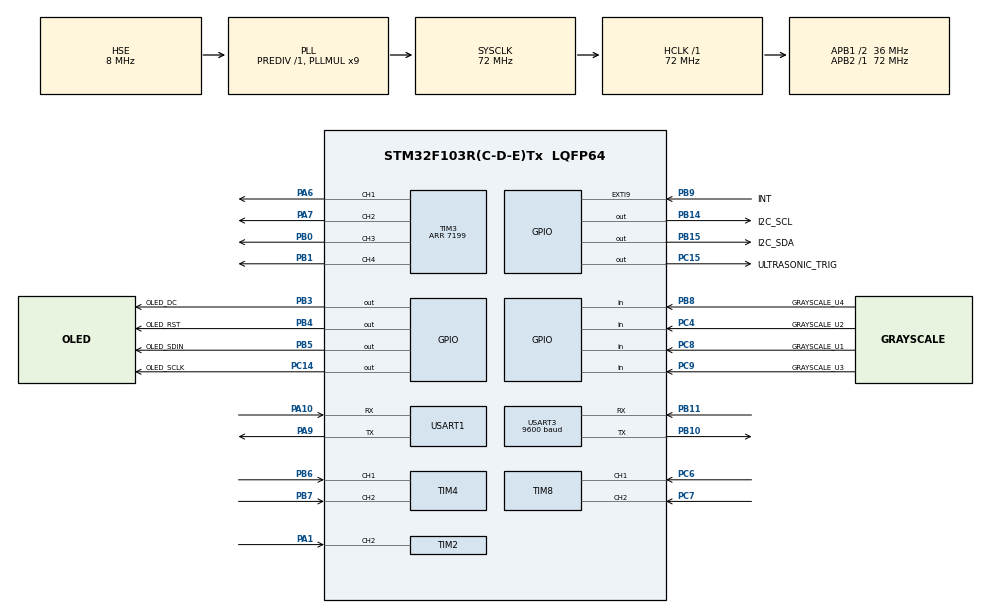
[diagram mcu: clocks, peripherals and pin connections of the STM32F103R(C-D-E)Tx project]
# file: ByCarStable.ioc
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FREERTOS.Queues01=TelemetryQueue,4,AppTelemetryFrame_t,0,Dynamic,NULL,NULL;BluetoothRxQueue,32,uint8_t,0,Dynamic,NULL,NULL;BluetoothCommandQueue,4,BluetoothCommand_t,0,Dynamic,NULL,NULL;UltrasonicQueue,1,UltrasonicSample_t,0,Dynamic,NULL,NULL
FREERTOS.Tasks01=ControlTask,40,512,StartControlTask,Default,NULL,Dynamic,NULL,NULL;TelemetryTask,8,384,StartTelemetryTask,Default,NULL,Dynamic,NULL,NULL;BluetoothTask,24,384,StartBluetoothTask,Default,NULL,Dynamic,NULL,NULL;UltrasonicTask,16,256,StartUltrasonicTask,Default,NULL,Dynamic,NULL,NULL
Mcu.Family=STM32F1
Mcu.Name=STM32F103R(C-D-E)Tx
Mcu.Package=LQFP64
NVIC.EXTI9_5_IRQn=true\:5\:0\:false\:false\:true\:true\:true\:true\:true
NVIC.PriorityGroup=NVIC_PRIORITYGROUP_4
NVIC.TIM2_IRQn=true\:6\:0\:false\:false\:true\:true\:true\:true\:true
NVIC.TIM7_IRQn=true\:15\:0\:false\:false\:true\:false\:false\:true\:true
NVIC.USART3_IRQn=true\:5\:0\:false\:false\:true\:true\:true\:true\:true
NVIC.TimeBase=TIM7_IRQn
NVIC.TimeBaseIP=TIM7
PA10.Mode=Asynchronous
PA10.Signal=USART1_RX
PA1.Signal=S_TIM2_CH2
PA13.Mode=Serial_Wire
PA13.Signal=SYS_JTMS-SWDIO
PA14.Mode=Serial_Wire
PA14.Signal=SYS_JTCK-SWCLK
PA6.Signal=S_TIM3_CH1
PA7.Signal=S_TIM3_CH2
PA9.Mode=Asynchronous
PA9.Signal=USART1_TX
PB0.Signal=S_TIM3_CH3
PB1.Signal=S_TIM3_CH4
PB10.Mode=Asynchronous
PB10.Signal=USART3_TX
PB11.Mode=Asynchronous
PB11.Signal=USART3_RX
PB14.GPIO_Label=I2C_SCL
PB14.GPIO_ModeDefaultOutputPP=GPIO_MODE_OUTPUT_OD
PB14.GPIO_PuPd=GPIO_PULLUP
PB14.GPIO_Speed=GPIO_SPEED_FREQ_HIGH
PB14.PinState=GPIO_PIN_SET
PB14.Signal=GPIO_Output
PB15.GPIO_Label=I2C_SDA
PB15.GPIO_ModeDefaultOutputPP=GPIO_MODE_OUTPUT_OD
PB15.GPIO_PuPd=GPIO_PULLUP
PB15.GPIO_Speed=GPIO_SPEED_FREQ_HIGH
PB15.PinState=GPIO_PIN_SET
PB15.Signal=GPIO_Output
PB3.GPIO_Label=OLED_DC
PB3.GPIO_ModeDefaultOutputPP=GPIO_MODE_OUTPUT_PP
PB3.GPIO_PuPd=GPIO_NOPULL
PB3.GPIO_Speed=GPIO_SPEED_FREQ_HIGH
PB3.PinState=GPIO_PIN_SET
PB3.Signal=GPIO_Output
PB4.GPIO_Label=OLED_RST
PB4.GPIO_ModeDefaultOutputPP=GPIO_MODE_OUTPUT_PP
PB4.GPIO_PuPd=GPIO_NOPULL
PB4.GPIO_Speed=GPIO_SPEED_FREQ_HIGH
PB4.PinState=GPIO_PIN_SET
PB4.Signal=GPIO_Output
PB5.GPIO_Label=OLED_SDIN
PB5.GPIO_ModeDefaultOutputPP=GPIO_MODE_OUTPUT_PP
PB5.GPIO_PuPd=GPIO_NOPULL
PB5.GPIO_Speed=GPIO_SPEED_FREQ_HIGH
PB5.PinState=GPIO_PIN_SET
PB5.Signal=GPIO_Output
PB6.Signal=S_TIM4_CH1
PB7.Signal=S_TIM4_CH2
PB8.GPIO_Label=GRAYSCALE_U4
PB8.GPIO_PuPd=GPIO_NOPULL
PB8.Signal=GPIO_Input
PB9.GPIO_Label=INT
PB9.GPIO_PuPd=GPIO_PULLDOWN
PB9.Signal=GPXTI9
PC4.GPIO_Label=GRAYSCALE_U2
PC4.GPIO_PuPd=GPIO_NOPULL
PC4.Signal=GPIO_Input
PC6.Signal=S_TIM8_CH1
PC7.Signal=S_TIM8_CH2
PC8.GPIO_Label=GRAYSCALE_U1
PC8.GPIO_PuPd=GPIO_NOPULL
PC8.Signal=GPIO_Input
PC9.GPIO_Label=GRAYSCALE_U3
PC9.GPIO_PuPd=GPIO_NOPULL
PC9.Signal=GPIO_Input
PC14.GPIO_Label=OLED_SCLK
PC14.GPIO_ModeDefaultOutputPP=GPIO_MODE_OUTPUT_PP
PC14.GPIO_PuPd=GPIO_NOPULL
PC14.GPIO_Speed=GPIO_SPEED_FREQ_HIGH
PC14.PinState=GPIO_PIN_SET
PC14.Signal=GPIO_Output
PC15.GPIO_Label=ULTRASONIC_TRIG
PC15.GPIO_ModeDefaultOutputPP=GPIO_MODE_OUTPUT_PP
PC15.GPIO_Speed=GPIO_SPEED_FREQ_LOW
PC15.PinState=GPIO_PIN_RESET
PC15.Signal=GPIO_Output
PD0-OSC_IN.Mode=HSE-External-Oscillator
PD0-OSC_IN.Signal=RCC_OSC_IN
PD1-OSC_OUT.Mode=HSE-External-Oscillator
PD1-OSC_OUT.Signal=RCC_OSC_OUT
ProjectManager.HeapSize=0x200
ProjectManager.StackSize=0x400
ProjectManager.TargetToolchain=MDK-ARM V5.32
RCC.AHBFreq_Value=72000000
RCC.APB1CLKDivider=RCC_HCLK_DIV2
RCC.APB1Freq_Value=36000000
RCC.APB1TimFreq_Value=72000000
RCC.APB2Freq_Value=72000000
RCC.APB2TimFreq_Value=72000000
RCC.HCLKFreq_Value=72000000
RCC.PLLMUL=RCC_PLL_MUL9
RCC.PLLSourceVirtual=RCC_PLLSOURCE_HSE
RCC.SYSCLKFreq_VALUE=72000000
RCC.SYSCLKSource=RCC_SYSCLKSOURCE_PLLCLK
RCC.USBFreq_Value=72000000
SH.S_TIM2_CH2.0=TIM2_CH2,Input_Capture direct mode
SH.S_TIM3_CH1.0=TIM3_CH1,PWM Generation1 CH1
SH.S_TIM3_CH2.0=TIM3_CH2,PWM Generation2 CH2
SH.S_TIM3_CH3.0=TIM3_CH3,PWM Generation3 CH3
SH.S_TIM3_CH4.0=TIM3_CH4,PWM Generation4 CH4
SH.S_TIM4_CH1.0=TIM4_CH1,Encoder_Interface
SH.S_TIM4_CH2.0=TIM4_CH2,Encoder_Interface
SH.S_TIM8_CH1.0=TIM8_CH1,Encoder_Interface
SH.S_TIM8_CH2.0=TIM8_CH2,Encoder_Interface
TIM3.AutoReloadPreload=TIM_AUTORELOAD_PRELOAD_ENABLE
TIM3.Channel-PWM\ Generation1\ CH1=TIM_CHANNEL_1
TIM3.Channel-PWM\ Generation2\ CH2=TIM_CHANNEL_2
TIM3.Channel-PWM\ Generation3\ CH3=TIM_CHANNEL_3
TIM3.Channel-PWM\ Generation4\ CH4=TIM_CHANNEL_4
TIM3.Period=7199
TIM2.Channel-Input\ Capture2\ from\ TI2=TIM_CHANNEL_2
TIM2.Period=29999
TIM2.Prescaler=71
TIM4.EncoderMode=TIM_ENCODERMODE_TI12
TIM4.IC1Filter=4
TIM4.IC2Filter=4
TIM8.EncoderMode=TIM_ENCODERMODE_TI12
TIM8.IC1Filter=4
TIM8.IC2Filter=4
USART1.VirtualMode=VM_ASYNC
USART3.VirtualMode=VM_ASYNC
USART3.BaudRate=9600
VP_FREERTOS_VS_CMSIS_V2.Mode=CMSIS_V2
VP_SYS_VS_tim7.Mode=TIM7
VP_TIM3_VS_ClockSourceINT.Mode=Internal
board=custom

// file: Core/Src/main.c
/* USER CODE BEGIN Header */
/**
  ******************************************************************************
  * @file           : main.c
  * @brief          : Main program body
  ******************************************************************************
  * @attention
  *
  * Copyright (c) 2026 STMicroelectronics.
  * All rights reserved.
  *
  * This software is licensed under terms that can be found in the LICENSE file
  * in the root directory of this software component.
  * If no LICENSE file comes with this software, it is provided AS-IS.
  *
  ******************************************************************************
  */
/* USER CODE END Header */
#include "main.h"
#include "cmsis_os.h"
#include "tim.h"
#include "usart.h"
#include "gpio.h"

/* USER CODE BEGIN Includes */
#include "oled.h"
#include "ultrasonic.h"

/* USER CODE END Includes */

void SystemClock_Config(void);
void MX_FREERTOS_Init(void);

int main(void)
{

  /* MCU Configuration--------------------------------------------------------*/

  /* Reset of all peripherals, Initializes the Flash interface and the Systick. */
  HAL_Init();

  /* Configure the system clock */
  SystemClock_Config();

  /* Initialize all configured peripherals */
  MX_GPIO_Init();
  MX_TIM2_Init();
  MX_TIM3_Init();
  MX_USART1_UART_Init();
  MX_USART3_UART_Init();
  MX_TIM4_Init();
  MX_TIM8_Init();
  /* USER CODE BEGIN 2 */

  OLED_Init();

  /* USER CODE END 2 */

  /* Init scheduler */
  osKernelInitialize();  /* Call init function for freertos objects (in cmsis_os2.c) */
  MX_FREERTOS_Init();

  /* Start scheduler */
  osKernelStart();

  /* We should never get here as control is now taken by the scheduler */

  /* Infinite loop */
  while (1)
  {

  }
}

void SystemClock_Config(void)
{
  RCC_OscInitTypeDef RCC_OscInitStruct = {0};
  RCC_ClkInitTypeDef RCC_ClkInitStruct = {0};

  /** Initializes the RCC Oscillators according to the specified parameters
  * in the RCC_OscInitTypeDef structure.
  */
  RCC_OscInitStruct.OscillatorType = RCC_OSCILLATORTYPE_HSE;
  RCC_OscInitStruct.HSEState = RCC_HSE_ON;
  RCC_OscInitStruct.HSEPredivValue = RCC_HSE_PREDIV_DIV1;
  RCC_OscInitStruct.HSIState = RCC_HSI_ON;
  RCC_OscInitStruct.PLL.PLLState = RCC_PLL_ON;
  RCC_OscInitStruct.PLL.PLLSource = RCC_PLLSOURCE_HSE;
  RCC_OscInitStruct.PLL.PLLMUL = RCC_PLL_MUL9;
  if (HAL_RCC_OscConfig(&RCC_OscInitStruct) != HAL_OK)
  {
    Error_Handler();
  }

  /** Initializes the CPU, AHB and APB buses clocks
  */
  RCC_ClkInitStruct.ClockType = RCC_CLOCKTYPE_HCLK|RCC_CLOCKTYPE_SYSCLK
                              |RCC_CLOCKTYPE_PCLK1|RCC_CLOCKTYPE_PCLK2;
  RCC_ClkInitStruct.SYSCLKSource = RCC_SYSCLKSOURCE_PLLCLK;
  RCC_ClkInitStruct.AHBCLKDivider = RCC_SYSCLK_DIV1;
  RCC_ClkInitStruct.APB1CLKDivider = RCC_HCLK_DIV2;
  RCC_ClkInitStruct.APB2CLKDivider = RCC_HCLK_DIV1;

  if (HAL_RCC_ClockConfig(&RCC_ClkInitStruct, FLASH_LATENCY_2) != HAL_OK)
  {
    Error_Handler();
  }
}

void HAL_TIM_PeriodElapsedCallback(TIM_HandleTypeDef *htim)
{
  if (htim->Instance == TIM7)
  {
    HAL_IncTick();
  }
  /* USER CODE BEGIN Callback 1 */
  else if (htim->Instance == TIM2)
  {
    Ultrasonic_HandleTimeoutIRQ(htim);
  }

  /* USER CODE END Callback 1 */
}

void Error_Handler(void)
{
  __disable_irq();
  while (1)
  {
  }
}

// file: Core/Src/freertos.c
/* USER CODE BEGIN Header */
/**
  ******************************************************************************
  * File Name          : freertos.c
  * Description        : Code for freertos applications
  ******************************************************************************
  */
/* USER CODE END Header */

#include "FreeRTOS.h"
#include "task.h"
#include "main.h"
#include "cmsis_os.h"

/* USER CODE BEGIN Includes */
#include "balance_control.h"
#include "bluetooth_control.h"
#include "imu.h"
#include "line_tracking.h"
#include "motor_control.h"
#include "oled_dashboard.h"
#include "ultrasonic.h"
#include "usart.h"
#include <stddef.h>
#include <stdio.h>
#include <string.h>
/* USER CODE END Includes */

/* USER CODE BEGIN PTD */
typedef struct
{
  uint32_t start_ms;
  uint16_t reverse_speed_mm_s;
  uint8_t active;
} AppUltrasonicAvoidance_t;

typedef struct
{
  uint32_t now_ms;
  uint32_t data_ready_missed;
  uint16_t loop_dt_ms;
  BalanceSample_t sample;
  MotorTelemetry_t motor;
  BalanceOutput_t output;
  BluetoothCommand_t bluetooth;
  UltrasonicSample_t ultrasonic;
  uint8_t grayscale_code;
  uint8_t avoidance_active;
} AppTelemetryFrame_t;
/* USER CODE END PTD */

/* USER CODE BEGIN PD */
#define BALANCE_TELEMETRY_PERIOD_MS    100U
#define OLED_DISPLAY_PERIOD_MS         200U
#define IMU_DATA_READY_THREAD_FLAG     0x00000001U
#define CONTROL_IMU_SAMPLES_PER_STEP   2U
#define BLUETOOTH_RX_QUEUE_DEPTH       32U
#define BLUETOOTH_COMMAND_QUEUE_DEPTH  4U
#define BLUETOOTH_NORMAL_BAUD          9600U
#define BLUETOOTH_AT_STARTUP_DELAY_MS  250U
#define BLUETOOTH_AT_TIMEOUT_MS        300U
#define BLUETOOTH_AT_COMMAND_DELAY_MS  50U
#define BLUETOOTH_AT_RESET_DELAY_MS    200U
#define APP_PI_F                       3.14159265358979323846f
/* USER CODE END PD */

/* USER CODE BEGIN Variables */
static volatile uint32_t app_imu_data_ready_sequence;
static uint8_t app_bluetooth_rx_byte;
static volatile uint8_t app_bluetooth_rx_enabled;
/* USER CODE END Variables */

/* Definitions for ControlTask */
osThreadId_t ControlTaskHandle;
const osThreadAttr_t ControlTask_attributes = {
  .name = "ControlTask",
  .stack_size = 512 * 4,
  .priority = (osPriority_t) osPriorityHigh,
};

/* Definitions for TelemetryTask */
osThreadId_t TelemetryTaskHandle;
const osThreadAttr_t TelemetryTask_attributes = {
  .name = "TelemetryTask",
  .stack_size = 384 * 4,
  .priority = (osPriority_t) osPriorityLow,
};

/* Definitions for BluetoothTask */
osThreadId_t BluetoothTaskHandle;
const osThreadAttr_t BluetoothTask_attributes = {
  .name = "BluetoothTask",
  .stack_size = 384 * 4,
  .priority = (osPriority_t) osPriorityNormal,
};

/* Definitions for UltrasonicTask */
osThreadId_t UltrasonicTaskHandle;
const osThreadAttr_t UltrasonicTask_attributes = {
  .name = "UltrasonicTask",
  .stack_size = 256 * 4,
  .priority = (osPriority_t) osPriorityBelowNormal,
};

/* Definitions for TelemetryQueue */
osMessageQueueId_t TelemetryQueueHandle;
const osMessageQueueAttr_t TelemetryQueue_attributes = {
  .name = "TelemetryQueue"
};

/* Definitions for BluetoothRxQueue */
osMessageQueueId_t BluetoothRxQueueHandle;
const osMessageQueueAttr_t BluetoothRxQueue_attributes = {
  .name = "BluetoothRxQueue"
};

/* Definitions for BluetoothCommandQueue */
osMessageQueueId_t BluetoothCommandQueueHandle;
const osMessageQueueAttr_t BluetoothCommandQueue_attributes = {
  .name = "BluetoothCommandQueue"
};

/* Latest completed ultrasonic sample; depth one intentionally replaces stale
   measurements instead of delaying the balance-control consumer. */
osMessageQueueId_t UltrasonicQueueHandle;
const osMessageQueueAttr_t UltrasonicQueue_attributes = {
  .name = "UltrasonicQueue"
};

/* Serialize USART1 debug output from the Bluetooth and telemetry tasks. */
osMutexId_t Uart1TxMutexHandle;
const osMutexAttr_t Uart1TxMutex_attributes = {
  .name = "Uart1TxMutex"
};

/* USER CODE BEGIN FunctionPrototypes */
static void App_SendText(const char *text);
static void App_SendBluetoothCommand(uint8_t byte,
                                     const BluetoothCommand_t *command);
static void App_SetStoppedOutput(BalanceOutput_t *output,
                                 BalanceState_t state);
static void App_BuildBalanceSetpoint(const BluetoothCommand_t *command,
                                     BalanceSetpoint_t *setpoint);
static void App_ApplyLineTracking(const BluetoothCommand_t *command,
                                  uint8_t grayscale_code,
                                  BluetoothCommand_t *tracking_command);
static void App_ApplyUltrasonicAvoidance(
  const BluetoothCommand_t *command,
  const UltrasonicSample_t *sample,
  uint8_t new_sample,
  uint32_t now_ms,
  AppUltrasonicAvoidance_t *avoidance,
  BluetoothCommand_t *effective_command);
static void App_UltrasonicPublishSample(const UltrasonicSample_t *sample);
static void App_QueueTelemetry(uint32_t now_ms,
                               uint16_t loop_dt_ms,
                               uint32_t data_ready_missed,
                                const BalanceSample_t *sample,
                                const MotorTelemetry_t *telemetry,
                                const BalanceOutput_t *output,
                                const BluetoothCommand_t *bluetooth,
                                const UltrasonicSample_t *ultrasonic,
                                uint8_t grayscale_code,
                                uint8_t avoidance_active);
static void App_SendTelemetry(const AppTelemetryFrame_t *frame);
static void App_FormatFloat(char *out, size_t out_size, float value,
                            uint8_t decimals);
static int32_t App_RoundFloat(float value);
static const char *App_StateText(BalanceState_t state);
static HAL_StatusTypeDef App_BluetoothSetBaud(uint32_t baud_rate);
static uint8_t App_BluetoothAtExchange(const char *request,
                                       const char *expected,
                                       uint32_t timeout_ms,
                                       BluetoothAtResponse_t *response);
static void App_BluetoothConfigureJdy33(void);
static void App_BluetoothPublishCommand(const BluetoothCommand_t *command);
static uint8_t App_ReadGrayscaleCode(void);
/* USER CODE END FunctionPrototypes */

void StartControlTask(void *argument);
void StartTelemetryTask(void *argument);
void StartBluetoothTask(void *argument);
void StartUltrasonicTask(void *argument);

void MX_FREERTOS_Init(void);

void MX_FREERTOS_Init(void)
{
  /* USER CODE BEGIN Init */
  app_imu_data_ready_sequence = 0U;
  app_bluetooth_rx_enabled = 0U;
  /* USER CODE END Init */

  Uart1TxMutexHandle = osMutexNew(&Uart1TxMutex_attributes);
  if (Uart1TxMutexHandle == NULL)
  {
    App_SendText("#key,error=uart1_mutex_create_failed\r\n");
  }

  /* creation of TelemetryQueue */
  TelemetryQueueHandle = osMessageQueueNew(4, sizeof(AppTelemetryFrame_t),
                                            &TelemetryQueue_attributes);
  if (TelemetryQueueHandle == NULL)
  {
    App_SendText("#key,error=telemetry_queue_create_failed\r\n");
  }

  BluetoothRxQueueHandle = osMessageQueueNew(
    BLUETOOTH_RX_QUEUE_DEPTH, sizeof(uint8_t), &BluetoothRxQueue_attributes);
  BluetoothCommandQueueHandle = osMessageQueueNew(
    BLUETOOTH_COMMAND_QUEUE_DEPTH, sizeof(BluetoothCommand_t),
    &BluetoothCommandQueue_attributes);
  UltrasonicQueueHandle = osMessageQueueNew(
    1U, sizeof(UltrasonicSample_t), &UltrasonicQueue_attributes);
  if ((BluetoothRxQueueHandle == NULL) ||
      (BluetoothCommandQueueHandle == NULL) ||
      (UltrasonicQueueHandle == NULL))
  {
    App_SendText("#key,error=queue_create_failed\r\n");
  }

  /* creation of ControlTask */
  ControlTaskHandle = osThreadNew(StartControlTask, NULL,
                                  &ControlTask_attributes);
  if (ControlTaskHandle == NULL)
  {
    App_SendText("#key,error=control_task_create_failed\r\n");
  }

  /* creation of TelemetryTask */
  TelemetryTaskHandle = NULL;
  if (TelemetryQueueHandle != NULL)
  {
    TelemetryTaskHandle = osThreadNew(StartTelemetryTask, NULL,
                                      &TelemetryTask_attributes);
  }
  if (TelemetryTaskHandle == NULL)
  {
    App_SendText("#key,error=telemetry_task_create_failed\r\n");
  }

  BluetoothTaskHandle = NULL;
  if ((BluetoothRxQueueHandle != NULL) &&
      (BluetoothCommandQueueHandle != NULL))
  {
    BluetoothTaskHandle = osThreadNew(StartBluetoothTask, NULL,
                                      &BluetoothTask_attributes);
  }
  if (BluetoothTaskHandle == NULL)
  {
    App_SendText("#bt,error=task_create_failed\r\n");
  }

  UltrasonicTaskHandle = NULL;
  if (UltrasonicQueueHandle != NULL)
  {
    UltrasonicTaskHandle = osThreadNew(StartUltrasonicTask, NULL,
                                       &UltrasonicTask_attributes);
  }
  if (UltrasonicTaskHandle == NULL)
  {
    App_SendText("#key,error=ultrasonic_task_create_failed\r\n");
  }

}

/* USER CODE BEGIN Header_StartControlTask */
/**
  * @brief PB9 MPU6050 data-ready synchronized balance control task.
  * @param argument Not used.
  */
/* USER CODE END Header_StartControlTask */
void StartControlTask(void *argument)
{
  /* USER CODE BEGIN StartControlTask */
  BalanceController_t controller;
  BalanceSample_t sample;
  BalanceOutput_t output;
  BalanceSetpoint_t setpoint;
  BluetoothCommand_t bluetooth_command;
  BluetoothCommand_t tracking_command;
  BluetoothCommand_t effective_command;
  BluetoothCommand_t pending_bluetooth_command;
  UltrasonicSample_t ultrasonic_sample;
  UltrasonicSample_t pending_ultrasonic_sample;
  AppUltrasonicAvoidance_t avoidance;
  const MotorTelemetry_t *telemetry;
  uint32_t current_sequence;
  uint32_t last_sequence;
  uint32_t last_sample_ms;
  uint32_t last_control_ms = 0U;
  uint32_t last_telemetry_ms = 0U;
  uint32_t data_ready_missed = 0U;
  uint16_t loop_dt_ms = 0U;
  uint8_t grayscale_code;
  uint8_t control_divider = 0U;

  (void)argument;
  (void)memset(&sample, 0, sizeof(sample));
  (void)memset(&setpoint, 0, sizeof(setpoint));
  (void)memset(&ultrasonic_sample, 0, sizeof(ultrasonic_sample));
  (void)memset(&avoidance, 0, sizeof(avoidance));
  BluetoothCommand_Init(&bluetooth_command);
  tracking_command = bluetooth_command;
  effective_command = bluetooth_command;
  grayscale_code = App_ReadGrayscaleCode();
  App_SetStoppedOutput(&output, BALANCE_STATE_TIMEOUT);
  Motor_Init();
  BalanceControl_Init(&controller);

  if (Imu_Init() == 0U)
  {
    App_SetStoppedOutput(&output, BALANCE_STATE_IMU_ERROR);
    Motor_Brake();
    App_SendText("#key,imu=error\r\n");
    for (;;)
    {
      telemetry = Motor_GetTelemetry();
      sample.timestamp_ms = HAL_GetTick();
      sample.valid = 0U;
      grayscale_code = App_ReadGrayscaleCode();
      App_QueueTelemetry(sample.timestamp_ms, 0U, data_ready_missed,
                          &sample, telemetry, &output, &bluetooth_command,
                          &ultrasonic_sample, grayscale_code,
                          avoidance.active);
      osDelay(BALANCE_TELEMETRY_PERIOD_MS);
    }
  }

  App_SendText("#key,imu=ok\r\n");
  last_sequence = app_imu_data_ready_sequence;
  (void)osThreadFlagsClear(IMU_DATA_READY_THREAD_FLAG);
  last_sample_ms = HAL_GetTick();

  for (;;)
  {
    uint32_t flags;
    uint32_t now_ms;
    uint32_t sequence_delta;
    uint32_t sample_dt_ms;
    uint8_t timing_fault = 0U;

    flags = osThreadFlagsWait(IMU_DATA_READY_THREAD_FLAG, osFlagsWaitAny,
                              BALANCE_SAMPLE_TIMEOUT_MS);
    now_ms = HAL_GetTick();

    if ((flags & osFlagsError) != 0U)
    {
      BalanceControl_Reset(&controller);
      Motor_Brake();
      App_SetStoppedOutput(&output, BALANCE_STATE_TIMEOUT);
      control_divider = 0U;
      last_control_ms = 0U;
      loop_dt_ms = 0U;
      telemetry = Motor_GetTelemetry();
      if ((now_ms - last_telemetry_ms) >= BALANCE_TELEMETRY_PERIOD_MS)
      {
        App_QueueTelemetry(now_ms, loop_dt_ms, data_ready_missed,
                           &sample, telemetry, &output, &bluetooth_command,
                           &ultrasonic_sample, grayscale_code,
                           avoidance.active);
        last_telemetry_ms = now_ms;
      }
      continue;
    }

    current_sequence = app_imu_data_ready_sequence;
    sequence_delta = current_sequence - last_sequence;
    last_sequence = current_sequence;
    if (sequence_delta != 1U)
    {
      data_ready_missed += (sequence_delta > 1U) ?
                           (sequence_delta - 1U) : 1U;
      timing_fault = 1U;
    }

    sample_dt_ms = now_ms - last_sample_ms;
    last_sample_ms = now_ms;
    (void)Imu_UpdateKalman5ms(&sample);
    sample.data_ready_sequence = current_sequence;
    sample.sample_dt_ms = (sample_dt_ms > 65535U) ? 65535U :
                          (uint16_t)sample_dt_ms;
    Encoder_Update5ms();
    telemetry = Motor_GetTelemetry();

    if (sample.valid == 0U)
    {
      BalanceControl_Reset(&controller);
      Motor_Brake();
      App_SetStoppedOutput(&output, BALANCE_STATE_IMU_ERROR);
      control_divider = 0U;
      last_control_ms = 0U;
      loop_dt_ms = 0U;
    }
    else if (timing_fault != 0U)
    {
      BalanceControl_Reset(&controller);
      Motor_Brake();
      App_SetStoppedOutput(&output, BALANCE_STATE_OVERRUN);
      control_divider = 0U;
      last_control_ms = 0U;
      loop_dt_ms = 0U;
    }
    else
    {
      control_divider++;
      if (control_divider >= CONTROL_IMU_SAMPLES_PER_STEP)
      {
        uint32_t control_dt_ms;
        uint8_t new_ultrasonic_sample = 0U;

        control_divider = 0U;
        if (last_control_ms != 0U)
        {
          control_dt_ms = now_ms - last_control_ms;
          loop_dt_ms = (control_dt_ms > 65535U) ? 65535U :
                       (uint16_t)control_dt_ms;
        }
        last_control_ms = now_ms;

        if (BluetoothCommandQueueHandle != NULL)
        {
          while (osMessageQueueGet(BluetoothCommandQueueHandle,
                                   &pending_bluetooth_command, NULL,
                                   0U) == osOK)
          {
            bluetooth_command = pending_bluetooth_command;
          }
        }
        BluetoothCommand_ApplyTimeout(&bluetooth_command, now_ms);
        grayscale_code = App_ReadGrayscaleCode();
        App_ApplyLineTracking(&bluetooth_command, grayscale_code,
                              &tracking_command);
        if (UltrasonicQueueHandle != NULL)
        {
          while (osMessageQueueGet(UltrasonicQueueHandle,
                                   &pending_ultrasonic_sample, NULL,
                                   0U) == osOK)
          {
            ultrasonic_sample = pending_ultrasonic_sample;
            new_ultrasonic_sample = 1U;
          }
        }
        App_ApplyUltrasonicAvoidance(&tracking_command, &ultrasonic_sample,
                                     new_ultrasonic_sample, now_ms,
                                     &avoidance, &effective_command);
        App_BuildBalanceSetpoint(&effective_command, &setpoint);
        output = BalanceControl_Update(&controller, &sample,
                                       telemetry->left_delta,
                                       telemetry->right_delta,
                                       &setpoint);
        if (output.state == BALANCE_STATE_RUNNING)
        {
          Motor_SetPWM(output.left_pwm, output.right_pwm);
        }
        else
        {
          Motor_Brake();
        }
        telemetry = Motor_GetTelemetry();
      }
    }

    if ((now_ms - last_telemetry_ms) >= BALANCE_TELEMETRY_PERIOD_MS)
    {
      App_QueueTelemetry(now_ms, loop_dt_ms, data_ready_missed,
                         &sample, telemetry, &output, &bluetooth_command,
                         &ultrasonic_sample, grayscale_code,
                         avoidance.active);
      last_telemetry_ms = now_ms;
    }
  }
  /* USER CODE END StartControlTask */
}

/* USER CODE BEGIN Header_StartTelemetryTask */
/**
  * @brief Low-priority asynchronous UART telemetry task.
  * @param argument Not used.
  */
/* USER CODE END Header_StartTelemetryTask */
void StartTelemetryTask(void *argument)
{
  /* USER CODE BEGIN StartTelemetryTask */
  AppTelemetryFrame_t frame;
  OledDashboardData_t dashboard;
  uint32_t last_display_ms = 0U;

  (void)argument;
  (void)memset(&frame, 0, sizeof(frame));
  (void)memset(&dashboard, 0, sizeof(dashboard));
  App_SendText("#key,ms,bt,age,drive,turn,speed,target,pitch,gyro,enc_l,enc_r,b_pwm,v_pwm,pwm_l,pwm_r,state,loop,missed,ultra_mm,ultra_valid,avoid\r\n");
  for (;;)
  {
    if (osMessageQueueGet(TelemetryQueueHandle, &frame, NULL,
                          osWaitForever) == osOK)
    {
      App_SendTelemetry(&frame);
      if ((last_display_ms == 0U) ||
          ((uint32_t)(frame.now_ms - last_display_ms) >=
           OLED_DISPLAY_PERIOD_MS))
      {
        dashboard.bluetooth_name = BLUETOOTH_DEVICE_NAME;
        dashboard.pitch_deg = frame.sample.pitch_deg;
        dashboard.gyro_pitch_dps = frame.sample.gyro_pitch_dps;
        dashboard.left_speed_mm_s = frame.motor.left_filtered_mm_s;
        dashboard.right_speed_mm_s = frame.motor.right_filtered_mm_s;
        dashboard.left_pwm = frame.motor.left_pwm;
        dashboard.right_pwm = frame.motor.right_pwm;
        dashboard.distance_mm = frame.ultrasonic.distance_mm;
        dashboard.state = frame.output.state;
        dashboard.grayscale_code = frame.grayscale_code;
        dashboard.line_mode_active = (uint8_t)(
          (frame.bluetooth.control_mode == BLUETOOTH_MODE_LINE_TRACKING) ?
          1U : 0U);
        dashboard.bluetooth_active = frame.bluetooth.active;
        dashboard.distance_valid = frame.ultrasonic.valid;
        dashboard.avoidance_active = frame.avoidance_active;
        OLED_RenderDashboard(&dashboard);
        last_display_ms = frame.now_ms;
      }
    }
  }
  /* USER CODE END StartTelemetryTask */
}

void StartBluetoothTask(void *argument)
{
  BluetoothCommand_t command;
  uint8_t byte;

  (void)argument;
  BluetoothCommand_Init(&command);
  App_BluetoothConfigureJdy33();

  for (;;)
  {
    if (osMessageQueueGet(BluetoothRxQueueHandle, &byte, NULL,
                          osWaitForever) == osOK)
    {
      if (BluetoothCommand_ProcessByte(&command, byte, HAL_GetTick()) != 0U)
      {
        App_BluetoothPublishCommand(&command);
        App_SendBluetoothCommand(byte, &command);
      }
    }
  }
}

/* USER CODE BEGIN Header_StartUltrasonicTask */
/**
  * @brief Periodic ultrasonic trigger task; echo completion is NVIC-driven.
  * @param argument Not used.
  */
/* USER CODE END Header_StartUltrasonicTask */
void StartUltrasonicTask(void *argument)
{
  /* USER CODE BEGIN StartUltrasonicTask */
  UltrasonicSample_t sample;
  uint32_t next_measurement_tick;

  (void)argument;
  (void)memset(&sample, 0, sizeof(sample));
  Ultrasonic_Init(osThreadGetId());
  next_measurement_tick = osKernelGetTickCount();

  for (;;)
  {
    uint32_t flags;

    (void)osThreadFlagsClear(ULTRASONIC_RESULT_THREAD_FLAG);
    if (Ultrasonic_StartMeasurement() != 0U)
    {
      flags = osThreadFlagsWait(ULTRASONIC_RESULT_THREAD_FLAG,
                                osFlagsWaitAny,
                                ULTRASONIC_ECHO_TIMEOUT_MS + 5U);
      if ((flags & osFlagsError) != 0U)
      {
        /* NVIC update interrupt is the normal timeout path.  This task-side
           abort is only a fail-safe if an interrupt is unexpectedly lost. */
        Ultrasonic_AbortMeasurement();
      }
      if (Ultrasonic_GetResult(&sample) != 0U)
      {
        App_UltrasonicPublishSample(&sample);
      }
    }
    else
    {
      (void)memset(&sample, 0, sizeof(sample));
      sample.timestamp_ms = HAL_GetTick();
      App_UltrasonicPublishSample(&sample);
    }

    next_measurement_tick += ULTRASONIC_MEASUREMENT_PERIOD_MS;
    if (osDelayUntil(next_measurement_tick) != osOK)
    {
      next_measurement_tick = osKernelGetTickCount();
      osDelay(ULTRASONIC_MEASUREMENT_PERIOD_MS);
    }
  }
  /* USER CODE END StartUltrasonicTask */
}

/* USER CODE BEGIN Application */
static uint8_t App_ReadGrayscaleCode(void)
{
  uint8_t u1_high;
  uint8_t u2_high;
  uint8_t u3_high;
  uint8_t u4_high;

  u1_high = (HAL_GPIO_ReadPin(GRAYSCALE_U1_GPIO_Port,
                             GRAYSCALE_U1_Pin) == GPIO_PIN_SET) ? 1U : 0U;
  u2_high = (HAL_GPIO_ReadPin(GRAYSCALE_U2_GPIO_Port,
                             GRAYSCALE_U2_Pin) == GPIO_PIN_SET) ? 1U : 0U;
  u3_high = (HAL_GPIO_ReadPin(GRAYSCALE_U3_GPIO_Port,
                             GRAYSCALE_U3_Pin) == GPIO_PIN_SET) ? 1U : 0U;
  u4_high = (HAL_GPIO_ReadPin(GRAYSCALE_U4_GPIO_Port,
                             GRAYSCALE_U4_Pin) == GPIO_PIN_SET) ? 1U : 0U;

  return LineTracking_PackCode(u1_high, u2_high, u3_high, u4_high);
}

void HAL_GPIO_EXTI_Callback(uint16_t GPIO_Pin)
{
  if (GPIO_Pin == INT_Pin)
  {
    app_imu_data_ready_sequence++;
    if (ControlTaskHandle != NULL)
    {
      (void)osThreadFlagsSet(ControlTaskHandle, IMU_DATA_READY_THREAD_FLAG);
    }
  }
}

void HAL_UART_RxCpltCallback(UART_HandleTypeDef *huart)
{
  if ((huart != NULL) && (huart->Instance == USART3))
  {
    if (BluetoothRxQueueHandle != NULL)
    {
      (void)osMessageQueuePut(BluetoothRxQueueHandle,
                              &app_bluetooth_rx_byte, 0U, 0U);
    }
    if (app_bluetooth_rx_enabled != 0U)
    {
      (void)HAL_UART_Receive_IT(&huart3, &app_bluetooth_rx_byte, 1U);
    }
  }
}

void HAL_UART_ErrorCallback(UART_HandleTypeDef *huart)
{
  if ((huart != NULL) && (huart->Instance == USART3) &&
      (app_bluetooth_rx_enabled != 0U))
  {
    (void)HAL_UART_Receive_IT(&huart3, &app_bluetooth_rx_byte, 1U);
  }
}

static void App_SendText(const char *text)
{
  uint8_t mutex_acquired = 0U;

  if (text == NULL)
  {
    return;
  }
  if ((Uart1TxMutexHandle != NULL) &&
      (osKernelGetState() == osKernelRunning))
  {
    if (osMutexAcquire(Uart1TxMutexHandle, 100U) != osOK)
    {
      return;
    }
    mutex_acquired = 1U;
  }
  (void)HAL_UART_Transmit(&huart1, (uint8_t *)text,
                           (uint16_t)strlen(text), 100U);
  if (mutex_acquired != 0U)
  {
    (void)osMutexRelease(Uart1TxMutexHandle);
  }
}

static void App_SendBluetoothCommand(uint8_t byte,
                                     const BluetoothCommand_t *command)
{
  char line[168];
  const char *drive;
  const char *turn;
  const char *mode;

  if (command == NULL)
  {
    return;
  }
  drive = (command->drive_direction == BLUETOOTH_DRIVE_FORWARD) ? "F" :
          ((command->drive_direction == BLUETOOTH_DRIVE_BACKWARD) ? "B" : "S");
  turn = (command->turn_direction == BLUETOOTH_TURN_LEFT) ? "L" :
         ((command->turn_direction == BLUETOOTH_TURN_RIGHT) ? "R" : "N");
  mode = (command->control_mode == BLUETOOTH_MODE_LINE_TRACKING) ?
         "LINE" : "MAN";
  (void)snprintf(line, sizeof(line),
                 "#bt,rx=0x%02X,mode=%s,drive=%s,turn=%s,speed=%u,line_speed=%u,gear=%u,timeout=%lums\r\n",
                 (unsigned int)byte, mode, drive, turn,
                 (unsigned int)command->speed_mm_s,
                 (unsigned int)command->line_speed_mm_s,
                 (unsigned int)command->turn_divisor,
                 (unsigned long)command->timeout_ms);
  App_SendText(line);
}

static void App_SetStoppedOutput(BalanceOutput_t *output,
                                 BalanceState_t state)
{
  if (output == NULL)
  {
    return;
  }
  (void)memset(output, 0, sizeof(*output));
  output->state = state;
}

static void App_ApplyLineTracking(const BluetoothCommand_t *command,
                                  uint8_t grayscale_code,
                                  BluetoothCommand_t *tracking_command)
{
  LineTrackingMotion_t motion;

  if ((command == NULL) || (tracking_command == NULL))
  {
    return;
  }

  *tracking_command = *command;
  if (command->control_mode != BLUETOOTH_MODE_LINE_TRACKING)
  {
    return;
  }

  LineTracking_BuildMotion(grayscale_code, &motion);
  tracking_command->drive_direction = motion.drive_direction;
  tracking_command->turn_direction = motion.turn_direction;
  tracking_command->turn_divisor = motion.turn_divisor;
  tracking_command->speed_mm_s = command->line_speed_mm_s;
}

static void App_ApplyUltrasonicAvoidance(
  const BluetoothCommand_t *command,
  const UltrasonicSample_t *sample,
  uint8_t new_sample,
  uint32_t now_ms,
  AppUltrasonicAvoidance_t *avoidance,
  BluetoothCommand_t *effective_command)
{
  if ((command == NULL) || (sample == NULL) || (avoidance == NULL) ||
      (effective_command == NULL))
  {
    return;
  }

  *effective_command = *command;

  /* A deliberate stop remains the highest-level motion command. */
  if ((command->drive_direction == BLUETOOTH_DRIVE_STOP) &&
      (command->turn_direction == BLUETOOTH_TURN_NONE))
  {
    avoidance->active = 0U;
  }

  if ((avoidance->active != 0U) &&
      ((uint32_t)(now_ms - avoidance->start_ms) >=
       ULTRASONIC_REVERSE_DURATION_MS))
  {
    avoidance->active = 0U;
  }

  if ((avoidance->active == 0U) && (new_sample != 0U) &&
      (sample->valid != 0U) &&
      (sample->distance_mm <= ULTRASONIC_AVOID_DISTANCE_MM) &&
      (command->drive_direction == BLUETOOTH_DRIVE_FORWARD))
  {
    avoidance->start_ms = now_ms;
    avoidance->reverse_speed_mm_s = command->speed_mm_s;
    avoidance->active = 1U;
  }

  if (avoidance->active != 0U)
  {
    effective_command->drive_direction = BLUETOOTH_DRIVE_BACKWARD;
    effective_command->turn_direction = BLUETOOTH_TURN_NONE;
    effective_command->speed_mm_s = avoidance->reverse_speed_mm_s;
  }
}

static void App_UltrasonicPublishSample(const UltrasonicSample_t *sample)
{
  UltrasonicSample_t dropped_sample;

  if ((sample == NULL) || (UltrasonicQueueHandle == NULL))
  {
    return;
  }
  if (osMessageQueuePut(UltrasonicQueueHandle, sample, 0U, 0U) != osOK)
  {
    (void)osMessageQueueGet(UltrasonicQueueHandle, &dropped_sample, NULL, 0U);
    (void)osMessageQueuePut(UltrasonicQueueHandle, sample, 0U, 0U);
  }
}

static void App_BuildBalanceSetpoint(const BluetoothCommand_t *command,
                                     BalanceSetpoint_t *setpoint)
{
  float counts_per_wheel;
  uint8_t turn_divisor;

  if (setpoint == NULL)
  {
    return;
  }
  (void)memset(setpoint, 0, sizeof(*setpoint));
  if (command == NULL)
  {
    return;
  }

  counts_per_wheel = ((float)command->speed_mm_s *
                      MOTOR_ENCODER_SAMPLE_PERIOD_S *
                      MOTOR_ENCODER_COUNTS_PER_REV) /
                     (APP_PI_F * MOTOR_WHEEL_DIAMETER_MM);
  setpoint->wheel_speed_sum_target_counts =
    (float)command->drive_direction * 2.0f * counts_per_wheel;

  turn_divisor = command->turn_divisor;
  if (turn_divisor == 0U)
  {
    turn_divisor = BLUETOOTH_TURN_DIVISOR_SLOW;
  }
  setpoint->turn_rate_target_dps =
    (float)command->turn_direction * BLUETOOTH_TURN_RATE_DPS /
    (float)turn_divisor;
  setpoint->translation_active = (uint8_t)(
    (command->drive_direction != BLUETOOTH_DRIVE_STOP) ? 1U : 0U);
}

static HAL_StatusTypeDef App_BluetoothSetBaud(uint32_t baud_rate)
{
  HAL_StatusTypeDef status;

  app_bluetooth_rx_enabled = 0U;
  (void)HAL_UART_AbortReceive(&huart3);
  huart3.Init.BaudRate = baud_rate;
  status = HAL_UART_Init(&huart3);
  if (status != HAL_OK)
  {
    return status;
  }
  if (BluetoothRxQueueHandle != NULL)
  {
    (void)osMessageQueueReset(BluetoothRxQueueHandle);
  }
  app_bluetooth_rx_enabled = 1U;
  status = HAL_UART_Receive_IT(&huart3, &app_bluetooth_rx_byte, 1U);
  if (status != HAL_OK)
  {
    app_bluetooth_rx_enabled = 0U;
  }
  return status;
}

static uint8_t App_BluetoothAtExchange(const char *request,
                                       const char *expected,
                                       uint32_t timeout_ms,
                                       BluetoothAtResponse_t *response)
{
  BluetoothAtResponse_t local_response;
  BluetoothAtResponse_t *active_response = response;
  uint32_t start_ms;
  uint8_t byte;
  uint8_t matched = 0U;

  if ((request == NULL) || (expected == NULL) ||
      (BluetoothRxQueueHandle == NULL))
  {
    return 0U;
  }
  if (active_response == NULL)
  {
    active_response = &local_response;
  }
  BluetoothAtResponse_Init(active_response);
  while (osMessageQueueGet(BluetoothRxQueueHandle, &byte, NULL, 0U) == osOK)
  {
    /* Drain bytes left by the previous AT response without resetting in ISR. */
  }
  if (HAL_UART_Transmit(&huart3, (uint8_t *)request,
                        (uint16_t)strlen(request), 100U) != HAL_OK)
  {
    return 0U;
  }

  start_ms = HAL_GetTick();
  while ((uint32_t)(HAL_GetTick() - start_ms) < timeout_ms)
  {
    uint32_t elapsed = (uint32_t)(HAL_GetTick() - start_ms);
    uint32_t remaining;

    if (elapsed >= timeout_ms)
    {
      break;
    }
    remaining = timeout_ms - elapsed;

    if (osMessageQueueGet(BluetoothRxQueueHandle, &byte, NULL,
                          remaining) != osOK)
    {
      break;
    }
    BluetoothAtResponse_Push(active_response, byte);
    if (BluetoothAtResponse_Contains(active_response, expected) != 0U)
    {
      matched = 1U;
    }
    /* Keep the complete response line, not only its prefix (for example
       "+NAME=").  The name bytes arrive after the prefix. */
    if ((matched != 0U) && (byte == (uint8_t)'\n'))
    {
      return 1U;
    }
  }
  return matched;
}

static void App_BluetoothConfigureJdy33(void)
{
  BluetoothAtResponse_t response;
  uint8_t at_ready;
  uint8_t spp_name_matches = 0U;
  uint8_t ble_name_matches = 0U;

  /*
   * The WHEELTEC module exposes STATE/RXD/TXD/GND/VCC/PWRC and uses the
   * dual-mode JDY-33 command set.  Unlike HC-05 it accepts AT commands at the normal
   * 9600 baud while it is not connected.  PWRC is a low-active wake/command
   * pin and is not the HC-05 KEY pin.
   */
  App_SendText("#bt,at=probe,module=JDY-33,baud=9600,name="
               BLUETOOTH_DEVICE_NAME "\r\n");
  if (App_BluetoothSetBaud(BLUETOOTH_NORMAL_BAUD) != HAL_OK)
  {
    App_SendText("#bt,at=uart_error,fallback=9600\r\n");
    return;
  }
  osDelay(BLUETOOTH_AT_STARTUP_DELAY_MS);

  at_ready = App_BluetoothAtExchange("AT+VERSION\r\n", "+VERSION=",
                                     BLUETOOTH_AT_TIMEOUT_MS, &response);
  if (at_ready == 0U)
  {
    at_ready = App_BluetoothAtExchange("AT\r\n", "+OK",
                                       BLUETOOTH_AT_TIMEOUT_MS, &response);
  }
  if (at_ready != 0U)
  {
    App_SendText("#bt,at=ready,module=JDY-33\r\n");

    if (App_BluetoothAtExchange("AT+NAME\r\n", "+NAME=",
                                BLUETOOTH_AT_TIMEOUT_MS, &response) != 0U)
    {
      spp_name_matches = BluetoothAtResponse_Contains(
        &response, BLUETOOTH_DEVICE_NAME);
    }
    if (spp_name_matches == 0U)
    {
      App_SendText("#bt,name=spp,set,target=" BLUETOOTH_DEVICE_NAME "\r\n");
      (void)App_BluetoothAtExchange("AT+NAME" BLUETOOTH_DEVICE_NAME "\r\n",
                                    "+OK", BLUETOOTH_AT_TIMEOUT_MS, NULL);
      osDelay(BLUETOOTH_AT_COMMAND_DELAY_MS);
      (void)App_BluetoothAtExchange("AT+NAME\r\n", "+NAME=",
                                    BLUETOOTH_AT_TIMEOUT_MS, &response);
      spp_name_matches = BluetoothAtResponse_Contains(
        &response, BLUETOOTH_DEVICE_NAME);
    }
    App_SendText((spp_name_matches != 0U) ?
                 "#bt,name=spp,value=ByCar321,status=ok\r\n" :
                 "#bt,name=spp,value=ByCar321,status=verify_failed\r\n");

    if (App_BluetoothAtExchange("AT+NAMB\r\n", "+NAME=",
                                BLUETOOTH_AT_TIMEOUT_MS, &response) != 0U)
    {
      ble_name_matches = BluetoothAtResponse_Contains(
        &response, BLUETOOTH_DEVICE_NAME);
    }
    if (ble_name_matches == 0U)
    {
      App_SendText("#bt,name=ble,set,target=" BLUETOOTH_DEVICE_NAME "\r\n");
      (void)App_BluetoothAtExchange("AT+NAMB" BLUETOOTH_DEVICE_NAME "\r\n",
                                    "+OK", BLUETOOTH_AT_TIMEOUT_MS, NULL);
      osDelay(BLUETOOTH_AT_COMMAND_DELAY_MS);
      (void)App_BluetoothAtExchange("AT+NAMB\r\n", "+NAME=",
                                    BLUETOOTH_AT_TIMEOUT_MS, &response);
      ble_name_matches = BluetoothAtResponse_Contains(
        &response, BLUETOOTH_DEVICE_NAME);
    }
    App_SendText((ble_name_matches != 0U) ?
                 "#bt,name=ble,value=ByCar321,status=ok\r\n" :
                 "#bt,name=ble,value=ByCar321,status=verify_failed\r\n");

    if ((App_BluetoothAtExchange("AT+BAUD\r\n", "+BAUD=",
                                 BLUETOOTH_AT_TIMEOUT_MS, &response) == 0U) ||
        (BluetoothAtResponse_Contains(&response, "+BAUD=4") == 0U))
    {
      App_SendText("#bt,baud=set,value=9600\r\n");
      (void)App_BluetoothAtExchange("AT+BAUD4\r\n", "+OK",
                                    BLUETOOTH_AT_TIMEOUT_MS, NULL);
    }
    (void)App_BluetoothAtExchange("AT+RESET\r\n", "+OK",
                                  BLUETOOTH_AT_TIMEOUT_MS, NULL);
    osDelay(BLUETOOTH_AT_RESET_DELAY_MS);
  }
  else
  {
    App_SendText("#bt,at=not_detected,module=JDY-33,fallback=remote\r\n");
  }

  App_SendText("#bt,mode=remote,baud=9600,raw_timeout=500ms,on_timeout=10000ms\r\n");
}

static void App_BluetoothPublishCommand(const BluetoothCommand_t *command)
{
  BluetoothCommand_t dropped_command;

  if ((command == NULL) || (BluetoothCommandQueueHandle == NULL))
  {
    return;
  }
  if (osMessageQueuePut(BluetoothCommandQueueHandle, command, 0U, 0U) != osOK)
  {
    (void)osMessageQueueGet(BluetoothCommandQueueHandle, &dropped_command,
                            NULL, 0U);
    (void)osMessageQueuePut(BluetoothCommandQueueHandle, command, 0U, 0U);
  }
}

static void App_QueueTelemetry(uint32_t now_ms,
                               uint16_t loop_dt_ms,
                               uint32_t data_ready_missed,
                               const BalanceSample_t *sample,
                               const MotorTelemetry_t *telemetry,
                               const BalanceOutput_t *output,
                               const BluetoothCommand_t *bluetooth,
                               const UltrasonicSample_t *ultrasonic,
                               uint8_t grayscale_code,
                               uint8_t avoidance_active)
{
  AppTelemetryFrame_t frame;
  AppTelemetryFrame_t dropped_frame;

  if ((TelemetryQueueHandle == NULL) || (sample == NULL) ||
      (telemetry == NULL) || (output == NULL) || (bluetooth == NULL) ||
      (ultrasonic == NULL))
  {
    return;
  }

  frame.now_ms = now_ms;
  frame.loop_dt_ms = loop_dt_ms;
  frame.data_ready_missed = data_ready_missed;
  frame.sample = *sample;
  frame.motor = *telemetry;
  frame.output = *output;
  frame.bluetooth = *bluetooth;
  frame.ultrasonic = *ultrasonic;
  frame.grayscale_code = grayscale_code;
  frame.avoidance_active = avoidance_active;
  if (osMessageQueuePut(TelemetryQueueHandle, &frame, 0U, 0U) != osOK)
  {
    (void)osMessageQueueGet(TelemetryQueueHandle, &dropped_frame, NULL, 0U);
    (void)osMessageQueuePut(TelemetryQueueHandle, &frame, 0U, 0U);
  }
}

static void App_SendTelemetry(const AppTelemetryFrame_t *frame)
{
  char line[256];
  char pitch[18];
  char gyro[18];
  char target[18];
  BalanceSetpoint_t debug_setpoint;
  const char *bluetooth_state;
  const char *drive;
  const char *turn;
  uint32_t command_age_ms;

  if (frame == NULL)
  {
    return;
  }
  App_FormatFloat(pitch, sizeof(pitch), frame->sample.pitch_deg, 2U);
  App_FormatFloat(gyro, sizeof(gyro), frame->sample.gyro_pitch_dps, 2U);
  App_BuildBalanceSetpoint(&frame->bluetooth, &debug_setpoint);
  App_FormatFloat(target, sizeof(target),
                  debug_setpoint.wheel_speed_sum_target_counts, 1U);
  bluetooth_state = (frame->bluetooth.active != 0U) ? "LINK" : "IDLE";
  drive = (frame->bluetooth.drive_direction == BLUETOOTH_DRIVE_FORWARD) ? "F" :
          ((frame->bluetooth.drive_direction == BLUETOOTH_DRIVE_BACKWARD) ? "B" : "S");
  turn = (frame->bluetooth.turn_direction == BLUETOOTH_TURN_LEFT) ? "L" :
         ((frame->bluetooth.turn_direction == BLUETOOTH_TURN_RIGHT) ? "R" : "N");
  command_age_ms = (frame->bluetooth.last_command_ms == 0U) ? 0U :
                   (frame->now_ms - frame->bluetooth.last_command_ms);

  (void)snprintf(line, sizeof(line),
                 "#key,%lu,%s,%lu,%s,%s,%u,%s,%s,%s,%d,%d,%ld,%ld,%d,%d,%s,%u,%lu,%u,%u,%u\r\n",
                 (unsigned long)frame->now_ms,
                 bluetooth_state,
                 (unsigned long)command_age_ms,
                 drive,
                 turn,
                 (unsigned int)frame->bluetooth.speed_mm_s,
                 target,
                 pitch,
                 gyro,
                 frame->motor.left_delta,
                 frame->motor.right_delta,
                 (long)frame->output.balance_pwm,
                 (long)frame->output.velocity_pwm,
                 frame->motor.left_pwm,
                 frame->motor.right_pwm,
                 App_StateText(frame->output.state),
                 (unsigned int)frame->loop_dt_ms,
                 (unsigned long)frame->data_ready_missed,
                 (unsigned int)frame->ultrasonic.distance_mm,
                 (unsigned int)frame->ultrasonic.valid,
                 (unsigned int)frame->avoidance_active);
  App_SendText(line);
}

static void App_FormatFloat(char *out, size_t out_size, float value,
                            uint8_t decimals)
{
  int32_t scale = 1;
  int32_t scaled;
  int32_t whole;
  int32_t fraction;
  uint8_t i;

  if ((out == NULL) || (out_size == 0U))
  {
    return;
  }
  for (i = 0U; i < decimals; i++)
  {
    scale *= 10;
  }
  scaled = App_RoundFloat(value * (float)scale);
  if (scaled < 0)
  {
    whole = (-scaled) / scale;
    fraction = (-scaled) % scale;
    (void)snprintf(out, out_size, "-%ld.%0*ld",
                   (long)whole, decimals, (long)fraction);
  }
  else
  {
    whole = scaled / scale;
    fraction = scaled % scale;
    (void)snprintf(out, out_size, "%ld.%0*ld",
                   (long)whole, decimals, (long)fraction);
  }
}

static int32_t App_RoundFloat(float value)
{
  if (value >= 0.0f)
  {
    return (int32_t)(value + 0.5f);
  }
  return (int32_t)(value - 0.5f);
}

static const char *App_StateText(BalanceState_t state)
{
  switch (state)
  {
    case BALANCE_STATE_RUNNING:
      return "RUN";
    case BALANCE_STATE_IMU_ERROR:
      return "IMU_ERROR";
    case BALANCE_STATE_TILT:
      return "TILT";
    case BALANCE_STATE_TIMEOUT:
      return "TIMEOUT";
    case BALANCE_STATE_OVERRUN:
      return "OVERRUN";
    case BALANCE_STATE_STOPPED:
    default:
      return "STOPPED";
  }
}
/* USER CODE END Application */
